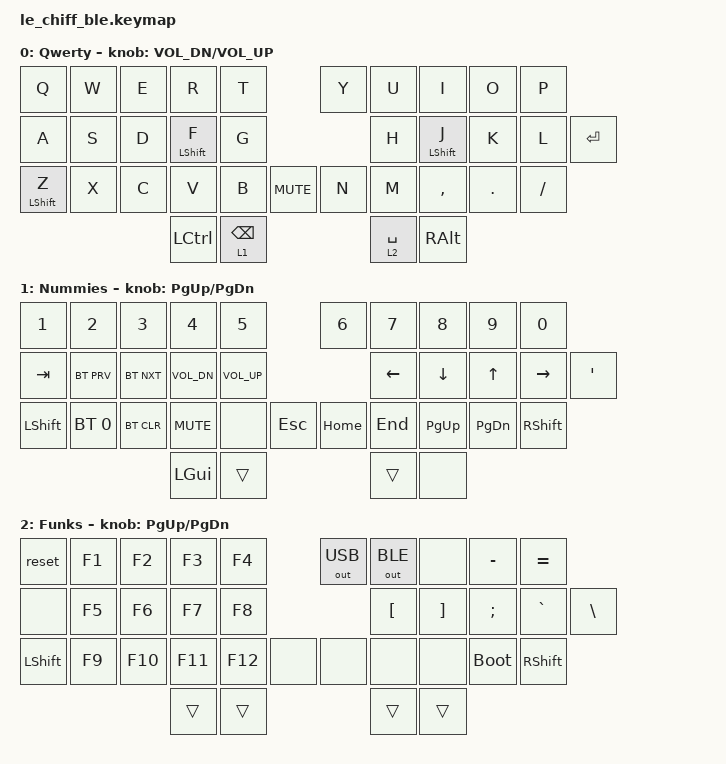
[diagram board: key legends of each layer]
/*
 * Copyright (c) 2021 @MangoIV
 *
 * SPDX-License-Identifier: MIT
 */

#include <behaviors.dtsi>
#include <dt-bindings/zmk/keys.h>
#include <dt-bindings/zmk/bt.h>
#include <dt-bindings/zmk/outputs.h>

// makes it possible to hold backspace
&mt {
    quick_tap_ms = <200>;
};

&lt {
    quick_tap_ms = <200>;
};

/ {
	keymap {
		compatible = "zmk,keymap";
		
		default {
            label = "Qwerty";
//  _____________________________       _____________________________
// /  Q  |  W  |  E  |  R  |  T  \     /  Y  |  U  |  I  |  O  |  P   \
// |  A  |  S  |  D  |Sft/F|  G  | ___ |  H  |Sft/J|  K  |  L  |  ENT  |
// |Sft/Z|  X  |  C  |  V  |  B  ||MUT||  N  |  M  |  ,  |  .  |   /   |
//         \CTRL |  BSPC   /     	\  SPC  | ALT/
//          ---------------------       --------------------
			bindings = <
            &kp Q       &kp W   &kp E   &kp R   	&kp T                    &kp Y   &kp U   	&kp I       &kp O   &kp P
            &kp A       &kp S   &kp D   &mt LSHFT F   	&kp G                    &kp H   &mt LSHFT J   	&kp K       &kp L   &kp RET
            &mt LSHFT Z &kp X   &kp C   &kp V   	&kp B     &kp C_MUTE     &kp N   &kp M  	&kp COMMA   &kp DOT &kp FSLH
                                        &kp LCTRL  &lt 1 BSPC                    &lt 2 SPACE       &kp RALT
			>;
			sensor-bindings = <&inc_dec_kp C_VOL_DN C_VOL_UP>;
		};
		numbers {
            label = "Nummies";
//  _____________________________       _____________________________
// /  1  |  2  |  3  |  4  |  5  \     /  6  |  7  |  8  |  9  |  0  \
// | TAB |BTPRV|BTNXT| VOL-| VOL+| ___ |  <  |  v  |  ^  |  >  |  '  |
// | Sft |BTSL0|BTCLR| MUT |     ||ESC|| HOME| END | PGUP| PGDN| Sft |
//         \  trns   |    trns   /     \   trns    |  trns  /
//          ---------------------       --------------------
			bindings = <
            &kp N1      &kp N2 		&kp N3 		&kp N4		&kp N5 		 		&kp N6		&kp N7		&kp N8		&kp N9		&kp N0
            &kp TAB	&bt BT_PRV	&bt BT_NXT 	&kp C_VOL_DN 	&kp C_VOL_UP  	 		&kp LEFT 	&kp DOWN 	&kp UP 		&kp RIGHT 	&kp SQT
            &kp LSHFT 	&bt BT_SEL 0 	&bt BT_CLR 	&kp C_MUTE 	&none		 &kp ESC	&kp HOME 	&kp END 	&kp PG_UP 	&kp PG_DN 	&kp RSHFT
            						&kp LGUI     &trans 				&trans	     &none
			>;
			sensor-bindings = <&inc_dec_kp PG_UP PG_DN>;
		};
		symbols {
            label = "Funks";
//  _____________________________       _____________________________
// / RST | F1  | F2  | F3  | F4  \     / USB | BLE |     |  -  |  =  \
// |     | F5  | F6  | F7  | F8  | ___ |  [  |  ]  |  ;  |  `  |  \  |
// | Sft | F9  | F10 | F11 | F12 ||   ||     |     |     |  BL | Sft |
//         \  trns   |    trns   /     \    trns   |  trns    /
//          ---------------------       --------------------
			bindings = <
            &reset 	&kp F1 	&kp F2 	&kp F3 	 &kp F4 		&out OUT_USB 	&out OUT_BLE 	&none  		&kp MINUS 	&kp EQUAL
            &none 	&kp F5 	&kp F6 	&kp F7	 &kp F8 		&kp LBKT 	&kp RBKT 	&kp SEMI 	&kp GRAVE 	&kp BSLH
            &kp LSHFT 	&kp F9 	&kp F10 &kp F11  &kp F12      &none     &none 		&none 		&none 		&bootloader	&kp RSHFT
           			 &trans &trans 				&trans 	&trans
			>;
			sensor-bindings = <&inc_dec_kp PG_UP PG_DN>;
		};
	};
};
